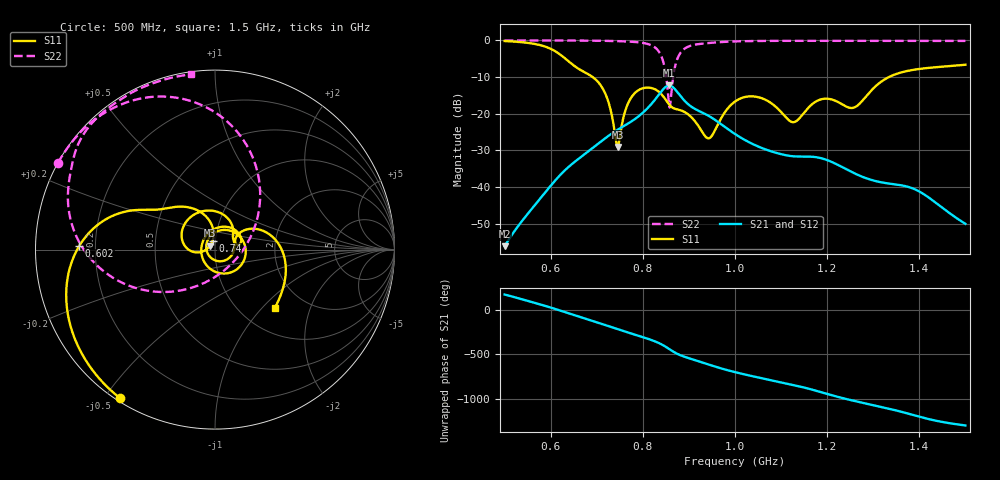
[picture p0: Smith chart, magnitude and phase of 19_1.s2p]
! TOUCHSTONE file generated by CST MICROWAVE STUDIO
! Date and time: Fri Oct  2 18:39:29 2020
! Project name: Scenario_1_Free_Space_out_of_line.cst
! Parameters = {Lambda=346.42; Step_1=17.321; dy1=35.502; dx1=173; L_HA=400; MT=2.54; Rad_Dielectric=30; Rad_Lower=7.3; Rad_Upper=30; a_HA=580; a_WG=246; b_HA=500; b_WG=121; c_HA=0; c_WG=187; d_feed=85; h_feed=15; h_lower=18; h_upper=40}
! Header version: 2018
! Port assignment regex: !\s*Touchstone port\s*([0-9]+)\s*=\s*(CST MWS port|CST DS port)\s*([0-9]+|Zmin|Zmax)\s*\(\"(.*)\"\)(\s*mode\s*([0-9]+))?.*
! Touchstone port assignment:
! Touchstone port 1 = CST MWS port 1 ("")
! Touchstone port 2 = CST MWS port 2 ("")
# GHz S DB R 50
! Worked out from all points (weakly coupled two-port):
!   1003 points, 500 MHz to 1.5 GHz, reference 50 ohm
!   highest |S21| = -12.30 dB at 857 MHz (marker M1); lowest = -56.2 dB at 500 MHz (marker M2)
!   lowest |S11| = -29.1 dB at 745 MHz (marker M3), VSWR 1.07, Z = 47.3 + j2.03 ohm
!   |S11| at or under -10 dB: 691.1 MHz to 1.334 GHz (642.9 MHz wide, 63.5 % of centre)
!   |S22| runs from -18.3 to 0.0 dB; largest |S21 - S12| = 3.6e-05
!   S11 on the Smith chart (normalised r, x): 500 MHz: 0.01, -0.55; 602 MHz: 0.14, +0.01; 740 MHz: 0.97, +0.09; 1.5 GHz: 1.43, -1.18
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0.5  -0.16 -122.7  -56.17 168.1  -56.17 168.1  -0.01 151.1
0.562  -0.89 -154.3  -45.51 79.9  -45.51 79.9  -0.01 146.9
0.602  -2.41 178.6  -39.37 19.4  -39.37 19.4  -0.02 143.9
0.667  -8.23 144.9  -31.71 -89.9  -31.71 -89.9  -0.05 138.3
0.715  -13.61 108.1  -27.03 -167.7  -27.03 -167.7  -0.11 132.8
0.74  -25.96 105.9  -24.80 149.6  -24.80 149.6  -0.17 129.2
0.745  -29.10 142.2  -24.40 141.0  -24.40 141.0  -0.19 128.4
0.779  -14.87 168.4  -21.80 85.2  -21.80 85.2  -0.39 120.9
0.834  -13.94 77.1  -14.93 -13.2  -14.93 -13.2  -2.90 84.5
0.847  -15.75 53.6  -12.96 -48.4  -12.96 -48.4  -7.23 55.0
0.857  -17.51 40.8  -12.30 -81.4  -12.30 -81.4  -17.72 -22.2
0.869  -18.62 29.6  -13.22 -120.0  -13.22 -120.0  -7.64 -145.7
0.892  -19.64 -6.9  -16.67 -171.4  -16.67 -171.4  -2.11 173.5
0.943  -26.73 -159.3  -20.61 104.6  -20.61 104.6  -0.71 150.1
1  -16.69 39.3  -25.54 19.3  -25.54 19.3  -0.27 140.4
1.058  -15.77 -44.0  -29.36 -49.2  -29.36 -49.2  -0.14 133.5
1.126  -22.32 177.2  -31.63 -124.3  -31.63 -124.3  -0.11 127.3
1.167  -17.44 71.5  -31.74 -176.1  -31.75 -176.1  -0.11 124.0
1.258  -18.34 22.2  -36.21 58.0  -36.21 58.0  -0.08 117.2
1.334  -10.00 15.3  -39.07 -29.6  -39.09 -29.7  -0.09 111.4
1.397  -7.83 -13.7  -41.05 -115.6  -41.07 -115.5  -0.10 106.5
1.5  -6.64 -44.0  -50.08 142.2  -50.06 142.0  -0.14 97.7
